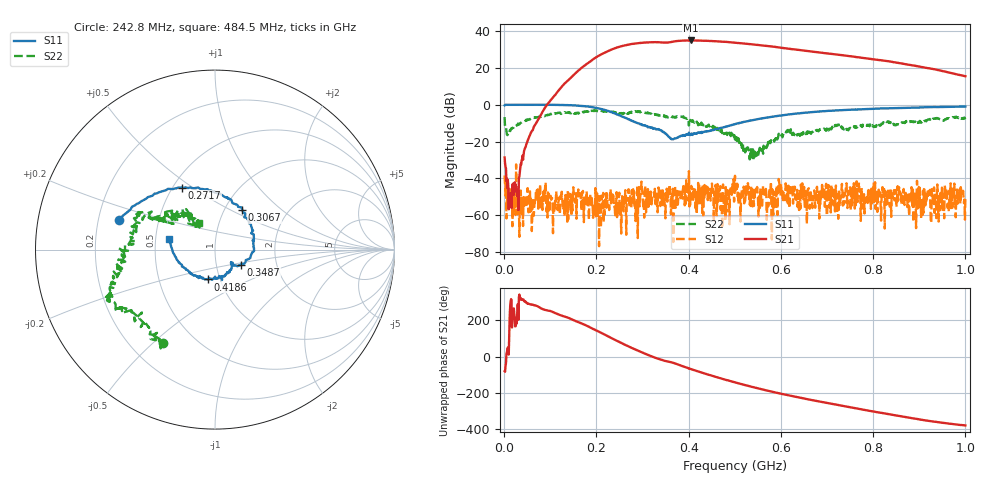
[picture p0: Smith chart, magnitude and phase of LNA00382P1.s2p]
! Created with skrf 1.9.0 (http://scikit-rf.org).
# Hz S RI R 50.0
!freq ReS11 ImS11 ReS21 ImS21 ReS12 ImS12 ReS22 ImS22
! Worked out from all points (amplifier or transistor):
!   1001 points, 1 MHz to 1 GHz, reference 50 ohm
!   highest |S21| = 35.0 dB at 404.6 MHz (marker M1)
!   |S21| within 3 dB of that: 256.5 MHz to 569.3 MHz (312.8 MHz wide, 75.8 % of centre)
!   unconditionally stable (mu >= 1): 4.239 MHz to 74.87 MHz; 298.3 MHz to 400.4 MHz; 400.8 MHz to end of sweep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
!   at 166.8 MHz: K = 1.16, MAG = 31.7 dB, |S12| = -48.5 dB
!   at 500.5 MHz: K = 1.07, MAG = 34.7 dB, |S12| = -38.6 dB
!   at 1 GHz: K = 4.52, MAG = 23.4 dB, |S12| = -50.2 dB
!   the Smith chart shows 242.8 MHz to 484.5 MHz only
!   S11 on the Smith chart (normalised r, x): 242.8 MHz: 0.29, +0.14; 271.7 MHz: 0.56, +0.45; 306.7 MHz: 1.21, +0.58; 348.7 MHz: 1.31, -0.23; 418.6 MHz: 0.87, -0.30; 484.5 MHz: 0.59, +0.07
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1000000  0.9642 -0.012  0.00657 -0.0362  -0.00443 -0.011  0.3753 0.2675
1.08892e8  0.5126 -0.8513  -0.8173 -1.553  -0.000907 -0.000768  0.4274 -0.3738
1.67833e8  -0.2476 -0.8937  -10.08 -0.5382  -0.00116 -0.000552  0.0459 -0.6322
2.09791e8  -0.6777 -0.3642  -15.6 17.17  -0.000448 3.63e-05  -0.2015 -0.6519
2.42758e8  -0.5362 0.1627  0.4101 35.25  0.000895 0.00168  -0.2915 -0.5182
2.71729e8  -0.1853 0.3457  25.79 35.36  0.000929 0.00138  -0.4936 -0.3282
3.06694e8  0.1518 0.221  47.76 12.7  -0.00106 0.00358  -0.5703 -0.1787
3.34666e8  0.2173 -0.00852  48.97 -10.78  0.000272 0.00562  -0.5001 -0.0674
3.48652e8  0.1433 -0.0836  45.14 -19.36  0.00159 -0.000319  -0.5013 0.0282
3.75625e8  0.0953 -0.0842  40.39 -36.38  -0.000889 0.00167  -0.4357 0.1774
4.04596e8  0.019 -0.1564  20.98 -52.05  0.00244 0.00325  -0.3199 0.1845
4.18582e8  -0.0413 -0.166  9.978 -54.72  -0.000192 0.00421  -0.2387 0.2167
4.49551e8  -0.1756 -0.0969  -13.33 -52.41  0.00474 0.00464  -0.181 0.197
4.84516e8  -0.2545 0.0575  -32.46 -39.34  0.00256 0.00404  -0.0911 0.1455
5.005e8  -0.257 0.1529  -38.34 -30.62  0.0109 -0.00415  -0.0771 0.0831
5.4046e8  -0.1774 0.3401  -42.59 -9.122  0.0029 -0.00269  -0.0319 0.00625
5.88412e8  0.0267 0.4859  -35.55 11.14  0.000458 -0.00299  -0.0971 -0.0733
6.67333e8  0.3958 0.49  -14.38 23.81  0.00208 -0.00183  -0.1683 -0.0618
7.55245e8  0.682 0.277  3.758 20.12  0.00134 -0.00339  -0.2385 -0.0248
8.34166e8  0.799 0.0222  10.93 10.47  0.00194 -0.00429  -0.3154 -0.0531
9.18082e8  0.8149 -0.2731  9.836 1.294  -0.00111 -0.00449  -0.3813 0.0684
1e9  0.73 -0.5179  5.675 -1.886  0.00283 0.00123  -0.397 0.1874
